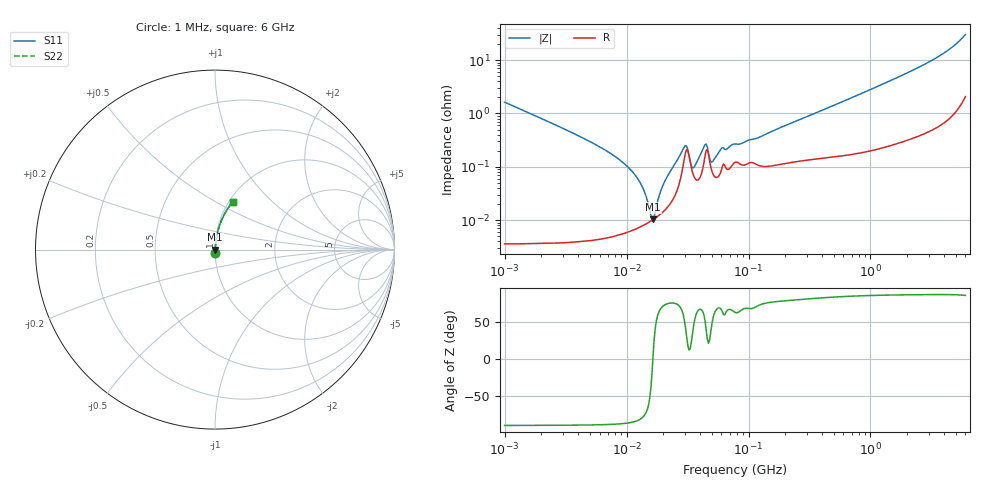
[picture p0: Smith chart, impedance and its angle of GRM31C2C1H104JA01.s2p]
!Murata Part Number: GRM31C2C1H104JA01
!These Parameters are Measured in Series Mode Connection
!Data Generated on Mar 30, 2021
!  o--ll--o
!Port1  Port2
!  o------o
!Operation Temp=25[degC], DC Bias Voltage=0[V]
!Freq. Start=1000[kHz] Stop=6[GHz] 401[Steps]
# Hz S RI R 50
!Freq.(Hz) S11(Real) S11(Imag) S21(Real) S21(Imag) S12(Real) S12(Imag) S22(Real) S22(Imag)
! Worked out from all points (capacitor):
!   401 points, 1 MHz to 6 GHz, reference 50 ohm
!   read as one part in series: C = 97.4 nF near 1.044 MHz
!   lowest |Z| = 10.4 mohm at 16.54 MHz (marker M1)
!   series resonance near 16.43 MHz, so ESL is about 960 pH
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1000000  0.000301 -0.0163  0.9997 0.0163  0.9997 0.0163  0.000301 -0.0163
4293785  5.25e-05 -0.00356  0.9999 0.00356  0.9999 0.00356  5.25e-05 -0.00356
7558231  5.17e-05 -0.00172  0.9999 0.00172  0.9999 0.00172  5.17e-05 -0.00172
1.093935e7  6.4e-05 -0.000852  0.9999 0.000852  0.9999 0.000852  6.4e-05 -0.000852
1.330454e7  7.74e-05 -0.00044  0.9999 0.00044  0.9999 0.00044  7.74e-05 -0.00044
1.583299e7  9.64e-05 -7.82e-05  0.9999 7.82e-05  0.9999 7.82e-05  9.64e-05 -7.82e-05
1.653689e7  0.000103 1.38e-05  0.9999 -1.38e-05  0.9999 -1.38e-05  0.000103 1.38e-05
1.843659e7  0.000123 0.000252  0.9999 -0.000252  0.9999 -0.000252  0.000123 0.000252
2.100646e7  0.000162 0.000566  0.9998 -0.000566  0.9998 -0.000566  0.000162 0.000566
2.974945e7  0.00142 0.00188  0.9986 -0.00188  0.9986 -0.00188  0.00142 0.00188
3.107204e7  0.0021 0.00122  0.9979 -0.00122  0.9979 -0.00122  0.0021 0.00122
3.389622e7  0.000989 0.000388  0.999 -0.000388  0.999 -0.000388  0.000989 0.000388
3.540316e7  0.00069 0.000673  0.9993 -0.000673  0.9993 -0.000673  0.00069 0.000673
4.400437e7  0.00161 0.00203  0.9984 -0.00203  0.9984 -0.00203  0.00161 0.00203
5.013812e7  0.000821 0.000907  0.9992 -0.000907  0.9992 -0.000907  0.000821 0.000907
5.966657e7  0.000845 0.00201  0.9992 -0.00201  0.9992 -0.00201  0.000845 0.00201
7.745967e7  0.00122 0.00239  0.9988 -0.00239  0.9988 -0.00239  0.00122 0.00239
1.196694e8  0.00108 0.00333  0.9989 -0.00333  0.9989 -0.00333  0.00108 0.00333
3.325952e8  0.00146 0.00946  0.9985 -0.00946  0.9985 -0.00946  0.00146 0.00946
1.428092e9  0.00406 0.04  0.9959 -0.04  0.9959 -0.04  0.00406 0.04
3.5601e9  0.0182 0.1117  0.9818 -0.1117  0.9818 -0.1117  0.0182 0.1117
6e9  0.0989 0.2662  0.9011 -0.2662  0.9011 -0.2662  0.0989 0.2662
